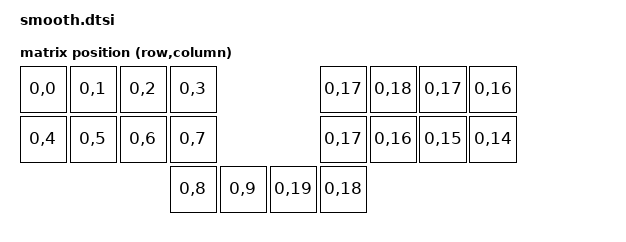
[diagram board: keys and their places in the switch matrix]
#include <dt-bindings/zmk/matrix_transform.h>
#include "smooth-layout.dtsi"

/ {
    chosen {
	//	zmk,physical-layout = &physical_layout0;
        zmk,kscan = &kscan0;
		// zmk,matrix_transform = &default_transform;
    };
	

    default_transform: keymap_transform_0 {
        compatible = "zmk,matrix-transform";
        columns = <20>;
        rows = <1>;
        map = <
        RC(0,0)  RC(0,1)  RC(0,2)  RC(0,3)                     RC(0,17)  RC(0,18)  RC(0,17)  RC(0,16)
        RC(0,4)  RC(0,5)  RC(0,6)  RC(0,7)                     RC(0,17)  RC(0,16)  RC(0,15)  RC(0,14) 
                  				RC(0,8)  RC(0,9)       RC(0,19)  RC(0,18)
							
	>;
    };


